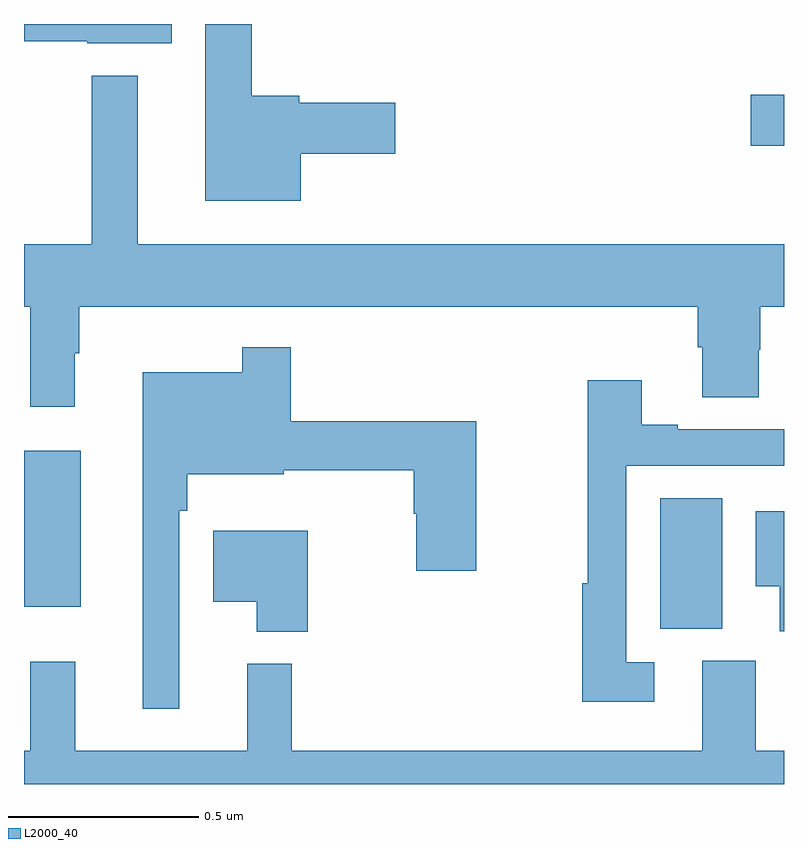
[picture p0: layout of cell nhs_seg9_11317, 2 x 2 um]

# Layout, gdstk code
import gdstk
lib = gdstk.Library(unit=1e-6, precision=1e-09)
def R(c, l, rs):  # rectangles x0, y0, x1, y1
    for r in rs: c.add(gdstk.rectangle(r[:2], r[2:], *l))
def P(c, l, *ps):  # polygons
    for p in ps: c.add(gdstk.Polygon(p, *l))
L2000_40 = (2000, 40)

nhs_seg9_11317 = lib.new_cell('nhs_seg9_11317')
R(nhs_seg9_11317, L2000_40, [(255.674,1192.909,255.838,1193.252), (254,1192.967,254.149,1193.377), (255.912,1194.179,256,1194.314)])
P(nhs_seg9_11317, L2000_40, [(254.728,1194.158),(254.977,1194.158),(254.977,1194.293),(254.724,1194.293),(254.724,1194.311),(254.599,1194.311),(254.599,1194.5),(254.477,1194.5),(254.477,1194.035),(254.728,1194.035)],
  [(254.389,1194.5),(254,1194.5),(254,1194.455),(254.166,1194.455),(254.166,1194.449),(254.389,1194.449)],
  [(254.134,1193.633),(254.146,1193.633),(254.146,1193.756),(255.773,1193.756),(255.773,1193.65),(255.785,1193.65),(255.785,1193.518),(255.933,1193.518),(255.933,1193.643),(255.938,1193.643),(255.938,1193.756),(256,1193.756),(256,1193.92),(254.299,1193.92),(254.299,1194.364),(254.178,1194.364),(254.178,1193.92),(254,1193.92),(254,1193.756),(254.017,1193.756),(254.017,1193.493),(254.134,1193.493)],
  [(254.409,1193.219),(254.429,1193.219),(254.429,1193.315),(254.683,1193.315),(254.683,1193.326),(255.025,1193.326),(255.025,1193.211),(255.032,1193.211),(255.032,1193.061),(255.19,1193.061),(255.19,1193.455),(254.702,1193.455),(254.702,1193.65),(254.574,1193.65),(254.574,1193.584),(254.312,1193.584),(254.312,1192.698),(254.409,1192.698)],
  [(255.658,1192.821),(255.585,1192.821),(255.585,1193.337),(256,1193.337),(256,1193.433),(255.721,1193.433),(255.721,1193.446),(255.625,1193.446),(255.625,1193.563),(255.484,1193.563),(255.484,1193.028),(255.469,1193.028),(255.469,1192.716),(255.658,1192.716)],
  [(256,1193.218),(255.926,1193.218),(255.926,1193.021),(255.989,1193.021),(255.989,1192.902),(256,1192.902)],
  [(254.747,1193.167),(254.498,1193.167),(254.498,1192.979),(254.612,1192.979),(254.612,1192.901),(254.747,1192.901)],
  [(256,1192.588),(255.925,1192.588),(255.925,1192.824),(255.785,1192.824),(255.785,1192.588),(254.705,1192.588),(254.705,1192.816),(254.588,1192.816),(254.588,1192.588),(254.135,1192.588),(254.135,1192.822),(254.017,1192.822),(254.017,1192.588),(254,1192.588),(254,1192.5),(256,1192.5)])

lib.write_gds('nhs_seg9_11317.gds')
